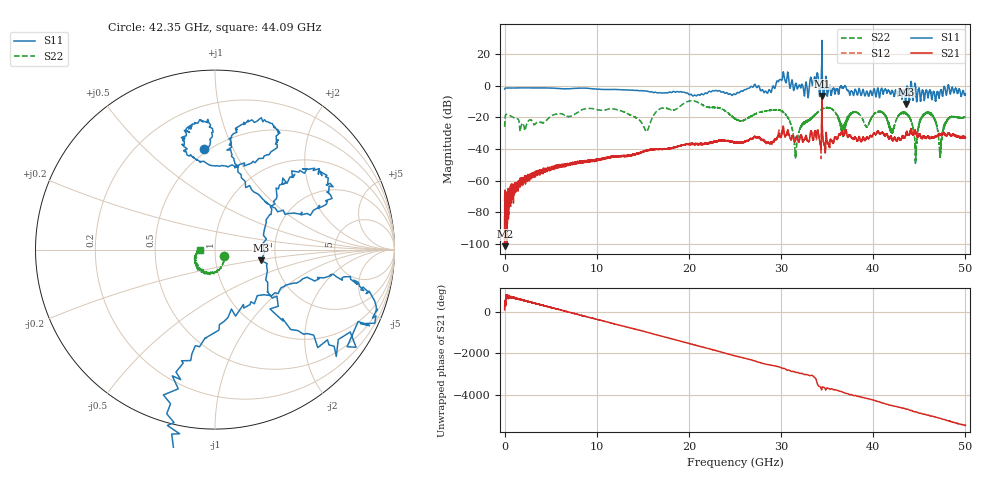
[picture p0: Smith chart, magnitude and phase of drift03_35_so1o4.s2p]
!Created with skrf (http://scikit-rf.org).
# Hz S RI R 50.0
!freq ReS11 ImS11 ReS21 ImS21 ReS12 ImS12 ReS22 ImS22
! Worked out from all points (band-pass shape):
!   10000 points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, 5.3 MHz to 50 GHz, reference 50 ohm
!   highest |S21| = -6.39 dB at 34.43 GHz (marker M1); lowest = -101.4 dB at 10.3 MHz (marker M2)
!   |S21| within 3 dB of the highest: 34.42752 GHz to 34.43467 GHz (7.149 MHz wide, 0.0208 % of centre)
!   lowest |S11| = -11.5 dB at 43.53 GHz (marker M3), VSWR 1.72, Z = 83.9 - j10.9 ohm
!   |S11| at or under -10 dB: 43.49167 GHz to 43.54543 GHz (53.76 MHz wide, 0.124 % of centre); 44.70883 GHz to 44.71089 GHz (2.061 MHz wide, 0.00461 % of centre)
!   |S22| runs from -49.9 to -9.4 dB; largest |S21 - S12| = 0.14
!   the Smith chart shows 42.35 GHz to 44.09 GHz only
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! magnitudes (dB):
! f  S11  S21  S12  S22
! 5.3 MHz  -2.1  -83.1  -69.8  -25.9
! 10.3 MHz  -2.1  -101.4  -72.6  -25.4
! 2.31 GHz  -1.4  -58.7  -59.9  -26.2
! 8.34 GHz  -1.5  -48.4  -48.0  -15.3
! 15.39 GHz  -3.5  -40.9  -41.0  -28.7
! 16.67 GHz  -4.4  -40.0  -40.0  -15.3
! 20.46 GHz  -6.5  -36.7  -36.8  -9.5
! 25.01 GHz  -5.5  -35.7  -35.8  -20.8
! 29.93 GHz  4.0  -32.5  -31.8  -15.6
! 31.6 GHz  1.5  -33.7  -33.9  -44.0
! 33.34 GHz  2.7  -30.2  -30.3  -20.3
! 34.43 GHz  28.6  -6.4  -8.6  -14.6
! 36.69 GHz  -1.4  -29.7  -29.8  -27.9
! 37.95 GHz  -3.8  -33.0  -32.7  -16.4
! 41.67 GHz  -3.0  -33.4  -33.4  -23.7
! 43.53 GHz  -11.5  -31.3  -31.2  -17.2
! 44.6 GHz  -1.0  -29.1  -29.0  -43.8
! 45.27 GHz  -3.9  -33.4  -33.1  -19.8
! 46.28 GHz  -5.6  -32.5  -32.8  -17.3
! 47.28 GHz  -3.1  -30.6  -30.8  -45.7
! 48.18 GHz  0.6  -29.7  -30.0  -20.5
! 50 GHz  -5.2  -32.8  -32.4  -19.6
